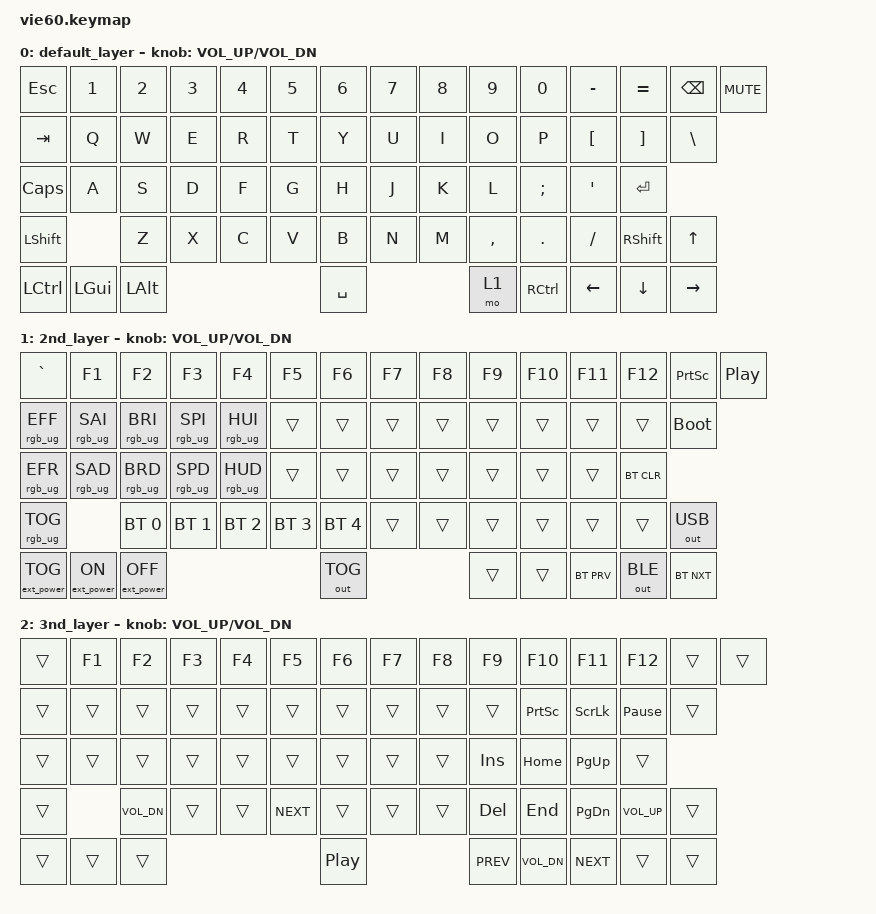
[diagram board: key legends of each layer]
/*
 * Copyright (c) 2021 Nick Winans
 *
 * SPDX-License-Identifier: MIT
 */

#include <behaviors.dtsi>
#include <dt-bindings/zmk/bt.h>
#include <dt-bindings/zmk/ext_power.h>
#include <dt-bindings/zmk/keys.h>
#include <dt-bindings/zmk/outputs.h>
#include <dt-bindings/zmk/rgb.h>
/ {
    macros {
        ZMK_MACRO(mc_pw,
            wait-ms = <1>;
            tap-ms = <1>;
            bindings = <&kp CAPS &kp T &kp CAPS &kp U &kp M &kp O &kp T &kp D &kp E &kp N &kp N1 &kp N2 &kp RET>;
        )
    };
	keymap {
		compatible = "zmk,keymap";
		
		default_layer {
// ------------------------------------------------------------------------------------------
// | ESC |  1  |  2  |  3  |  4  |  5  |  6  |  7  |  8  |  9  |  0  |  -  |  =  | BSPC |DEL|
// | TAB  |  Q  |  W  |  E  |  R  |  T  |  Y  |  U  |  I  |  O  |  P  |  [  |  ]  |   "|"   |
// | CAPS  |  A  |  S  |  D  |  F  |  G  |  H  |  J  |  K  |  L  |  ;  |  '  |     ENTER    |
// |  SHIFT  |  Z  |  X  |  C  |  V  |  B  |  N  |  M  |  ,  |  .  |  /  |      SHIFT       |
// |  CTL  |  WIN  |  ALT  |            SPACE              |  ALT  |  WIN  |  MO(1) |  CTL  |
// ------------------------------------------------------------------------------------------
			bindings = <
        &kp ESC           &kp N1    &kp N2  &kp N3  &kp N4  &kp N5     &kp N6  &kp N7  &kp N8     &kp N9    &kp N0  &kp MINUS  &kp EQUAL  &kp BSPC       &kp C_MUTE
        &kp TAB            &kp Q     &kp W   &kp E   &kp R   &kp T      &kp Y   &kp U   &kp I      &kp O     &kp P   &kp LBKT   &kp RBKT  &kp BSLH 
        &kp CAPS            &kp A     &kp S   &kp D   &kp F   &kp G      &kp H   &kp J   &kp K      &kp L  &kp SEMI    &kp SQT    &kp RET           
        &kp LSHFT   &kp Z   &kp X   &kp C   &kp V      &kp B   &kp N   &kp M  &kp COMMA   &kp DOT   &kp FSLH  &kp RSHFT    &kp UP 
        &kp LCTRL         &kp LGUI  &kp LALT                          &kp SPACE                     &mo 1  &kp RCTRL   &kp LEFT  &kp DOWN        &kp RIGHT
			>;
            sensor-bindings = <&inc_dec_kp C_VOL_UP C_VOL_DN>;
		};
		
		2nd_layer {
// ------------------------------------------------------------------------------------------
// | boot | BT CLR | BT1 | BT2 | BT3 | BT4 | BT5 | TRNS | TRNS | TRNS | TRNS | TRNS | TRNS |  TRNS  |
// | TRNS | TRNS |  UP  | TRNS | TRNS | TRNS | TRNS | TRNS | TRNS | TRNS | TRNS | TRNS | TRNS | TRNS |
// | TRNS | LEFT | DOWN | RGHT | TRNS | TRNS | TRNS | TRNS | TRNS | TRNS | TRNS | TRNS | TRNS |
// | TRNS | TRNS | TRNS | TRNS | TRNS | TRNS | TRNS | TRNS | TRNS | TRNS | TRNS | TRNS |
// | TRNS  | TRNS  |  TRNS |             TRNS              | TRNS  |  TRNS |  TRNS | TRNS  |
// ------------------------------------------------------------------------------------------
			bindings = <
        &kp GRAVE            &kp F1             &kp F2           &kp F3           &kp F4        &kp F5        &kp F6  &kp F7  &kp F8  &kp F9  &kp F10  &kp F11     &kp F12  &kp PRINTSCREEN  &kp C_PLAY_PAUSE
        &rgb_ug RGB_EFF   &rgb_ug RGB_SAI    &rgb_ug RGB_BRI  &rgb_ug RGB_SPI  &rgb_ug RGB_HUI        &trans        &trans  &trans  &trans  &trans   &trans   &trans  &trans      &bootloader         
        &rgb_ug RGB_EFR   &rgb_ug RGB_SAD    &rgb_ug RGB_BRD  &rgb_ug RGB_SPD  &rgb_ug RGB_HUD        &trans        &trans  &trans  &trans  &trans   &trans   &trans  &bt BT_CLR                     
        &rgb_ug RGB_TOG           &bt BT_SEL 0     &bt BT_SEL 1     &bt BT_SEL 2  &bt BT_SEL 3  &bt BT_SEL 4  &trans  &trans  &trans   &trans   &trans      &trans     &out OUT_USB          
        &ext_power EP_TOG  &ext_power EP_ON  &ext_power EP_OFF                                                  &out OUT_TOG                    &trans   &trans  &bt BT_PRV     &out OUT_BLE        &bt BT_NXT			
>;
            sensor-bindings = <&inc_dec_kp C_VOL_UP C_VOL_DN>;
		};
		
		3nd_layer {
// ------------------------------------------------------------------------------------------
// | boot | F1 | F2 | F3 | F4 | F5 | F6 | F7 | F8 | F9 | F10 | F11 | F12 |  TRNS  |
// | TRNS | TRNS | TRNS | TRNS | TRNS | TRNS | TRNS | TRNS | TRNS | TRNS | TRNS | TRNS | TRNS | TRNS |
// | TRNS | TRNS | TRNS | TRNS | TRNS | TRNS | TRNS | TRNS | TRNS | TRNS | TRNS | TRNS | TRNS |
// | TRNS | TRNS | VOL_DN | VOL_UP | PREV | NEXT | TRNS | TRNS | TRNS | TRNS | TRNS | TRNS |
// | TRNS  | TRNS  |  TRNS |             PLAY/PAUS              | TRNS  |  TRNS |  TRNS | TRNS  |
// ------------------------------------------------------------------------------------------
			bindings = <
	&trans      &kp F1     &kp F2          &kp F3          &kp F4          &kp F5          &kp F6       &kp F7 &kp F8 &kp F9     &kp F10        &kp F11      &kp F12         &trans &trans 
	&trans      &trans     &trans          &trans          &trans          &trans          &trans       &trans &trans &trans     &kp PSCRN      &kp SLCK     &kp PAUSE_BREAK &trans 
	&trans      &trans     &trans          &trans          &trans          &trans          &trans       &trans &trans &kp INS    &kp HOME       &kp PG_UP    &trans                 
	&trans                 &kp C_VOL_DN    &trans          &trans          &kp C_NEXT      &trans       &trans &trans &kp DEL    &kp END        &kp PG_DN    &kp C_VOL_UP    &trans
	&trans      &trans     &trans                                                          &kp C_PP                &kp C_PREV     &kp C_VOL_DN &kp K_NEXT      &trans &trans 
			>;
            sensor-bindings = <&inc_dec_kp C_VOL_UP C_VOL_DN>;
		};
	};
};
